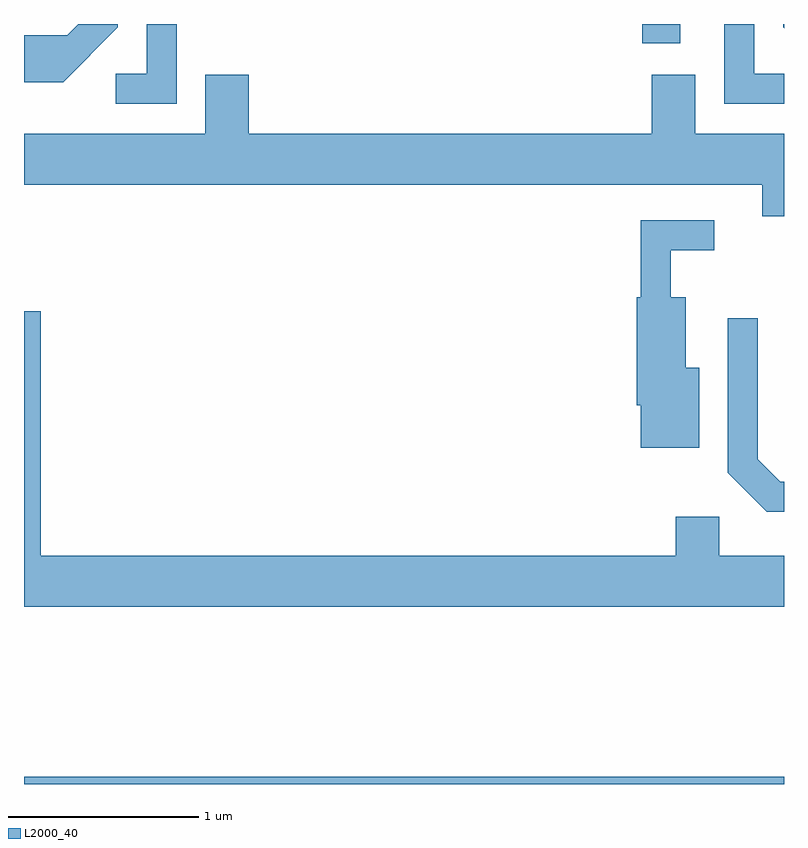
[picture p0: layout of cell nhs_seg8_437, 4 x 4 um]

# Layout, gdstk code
import gdstk
lib = gdstk.Library(unit=1e-6, precision=1e-09)
def R(c, l, rs):  # rectangles x0, y0, x1, y1
    for r in rs: c.add(gdstk.rectangle(r[:2], r[2:], *l))
def P(c, l, *ps):  # polygons
    for p in ps: c.add(gdstk.Polygon(p, *l))
L2000_40 = (2000, 40)

nhs_seg8_437 = lib.new_cell('nhs_seg8_437')
R(nhs_seg8_437, L2000_40, [(197.611,1864.342,201.611,1864.379), (200.866,1868.241,201.064,1868.342)])
P(nhs_seg8_437, L2000_40, [(201.611,1868.079),(201.454,1868.079),(201.454,1868.342),(201.296,1868.342),(201.296,1867.921),(201.611,1867.921)],
  [(201.611,1868.342),(201.606,1868.342),(201.606,1868.324),(201.611,1868.319)],
  [(198.104,1868.324),(198.104,1868.342),(197.896,1868.342),(197.839,1868.284),(197.611,1868.284),(197.611,1868.036),(197.817,1868.036)],
  [(198.414,1868.342),(198.256,1868.342),(198.256,1868.079),(198.093,1868.079),(198.093,1867.921),(198.414,1867.921)],
  [(201.611,1867.764),(201.144,1867.764),(201.144,1868.074),(200.916,1868.074),(200.916,1867.764),(198.794,1867.764),(198.794,1868.074),(198.566,1868.074),(198.566,1867.764),(197.611,1867.764),(197.611,1867.496),(201.496,1867.496),(201.496,1867.331),(201.611,1867.331)],
  [(201.164,1866.534),(201.094,1866.534),(201.094,1866.904),(201.014,1866.904),(201.014,1867.151),(201.243,1867.151),(201.243,1867.309),(200.856,1867.309),(200.856,1866.904),(200.836,1866.904),(200.836,1866.336),(200.856,1866.336),(200.856,1866.111),(201.164,1866.111)],
  [(201.611,1865.544),(201.269,1865.544),(201.269,1865.749),(201.041,1865.749),(201.041,1865.544),(197.699,1865.544),(197.699,1866.829),(197.611,1866.829),(197.611,1865.276),(201.611,1865.276)],
  [(201.611,1865.934),(201.592,1865.934),(201.474,1866.052),(201.474,1866.793),(201.316,1866.793),(201.316,1865.979),(201.519,1865.776),(201.611,1865.776)])

lib.write_gds('nhs_seg8_437.gds')
